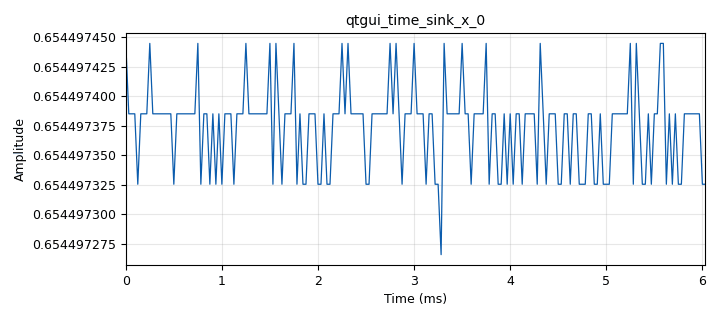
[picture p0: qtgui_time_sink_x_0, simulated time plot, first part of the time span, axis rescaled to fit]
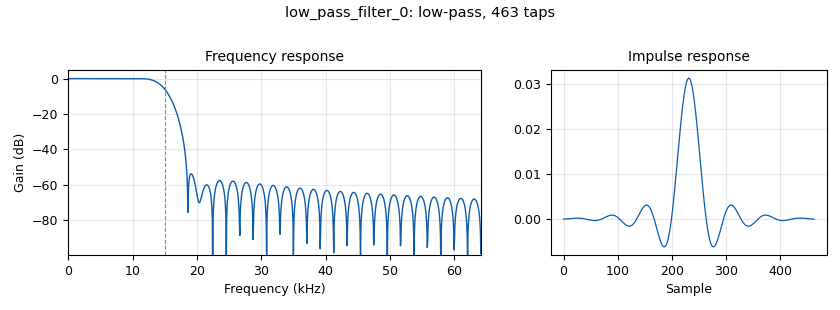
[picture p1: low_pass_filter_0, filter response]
<?xml version='1.0' encoding='utf-8'?>
<?grc format='1' created='3.7.13'?>
<flow_graph>
<block>
<key>options</key>
<param><key>id</key><value>top_block</value></param>
<param><key>generate_options</key><value>qt_gui</value></param>
</block>
<block>
<key>variable</key>
<param><key>id</key><value>samp_rate</value></param>
<param><key>value</key><value>960000</value></param>
</block>
<block>
<key>variable</key>
<param><key>id</key><value>samp_rate_1</value></param>
<param><key>value</key><value>32000</value></param>
</block>
<block>
<key>analog_phase_modulator_fc</key>
<param><key>id</key><value>analog_phase_modulator_fc_0</value></param>
<param><key>sensitivity</key><value>62831.8530718</value></param>
</block>
<block>
<key>analog_sig_source_x</key>
<param><key>id</key><value>analog_sig_source_x_0</value></param>
<param><key>amp</key><value>4</value></param>
<param><key>freq</key><value>10000</value></param>
<param><key>offset</key><value>0</value></param>
<param><key>type</key><value>float</value></param>
<param><key>samp_rate</key><value>samp_rate</value></param>
<param><key>waveform</key><value>analog.GR_COS_WAVE</value></param>
</block>
<block>
<key>analog_sig_source_x</key>
<param><key>id</key><value>analog_sig_source_x_1</value></param>
<param><key>amp</key><value>1</value></param>
<param><key>freq</key><value>100000</value></param>
<param><key>offset</key><value>0</value></param>
<param><key>type</key><value>complex</value></param>
<param><key>samp_rate</key><value>samp_rate</value></param>
<param><key>waveform</key><value>analog.GR_COS_WAVE</value></param>
</block>
<block>
<key>audio_sink</key>
<param><key>id</key><value>audio_sink_0</value></param>
<param><key>samp_rate</key><value>samp_rate_1</value></param>
</block>
<block>
<key>blocks_complex_to_arg</key>
<param><key>id</key><value>blocks_complex_to_arg_0</value></param>
</block>
<block>
<key>blocks_conjugate_cc</key>
<param><key>id</key><value>blocks_conjugate_cc_0</value></param>
</block>
<block>
<key>blocks_delay</key>
<param><key>id</key><value>blocks_delay_0</value></param>
<param><key>delay</key><value>1</value></param>
<param><key>type</key><value>complex</value></param>
</block>
<block>
<key>blocks_file_source</key>
<param><key>id</key><value>blocks_file_source_0</value></param>
<param><key>_enabled</key><value>0</value></param>
<param><key>file</key><value>C:\Users\vinam\Documents\Semester_5\EE 340\Lab2\lab2_task4.dat</value></param>
<param><key>type</key><value>complex</value></param>
<param><key>repeat</key><value>True</value></param>
</block>
<block>
<key>blocks_multiply_xx</key>
<param><key>id</key><value>blocks_multiply_xx_0</value></param>
<param><key>type</key><value>complex</value></param>
</block>
<block>
<key>blocks_multiply_xx</key>
<param><key>id</key><value>blocks_multiply_xx_0_0</value></param>
<param><key>type</key><value>complex</value></param>
</block>
<block>
<key>blocks_throttle</key>
<param><key>id</key><value>blocks_throttle_0</value></param>
<param><key>samples_per_second</key><value>samp_rate_1</value></param>
<param><key>type</key><value>float</value></param>
</block>
<block>
<key>iir_filter_xxx</key>
<param><key>id</key><value>iir_filter_xxx_0</value></param>
<param><key>fftaps</key><value>1/samp_rate</value></param>
<param><key>fbtaps</key><value>[1, 1]</value></param>
<param><key>type</key><value>ffd</value></param>
</block>
<block>
<key>low_pass_filter</key>
<param><key>id</key><value>low_pass_filter_0</value></param>
<param><key>cutoff_freq</key><value>15000</value></param>
<param><key>decim</key><value>30</value></param>
<param><key>type</key><value>fir_filter_fff</value></param>
<param><key>gain</key><value>1</value></param>
<param><key>samp_rate</key><value>samp_rate</value></param>
<param><key>width</key><value>5000</value></param>
<param><key>win</key><value>firdes.WIN_HAMMING</value></param>
</block>
<block>
<key>qtgui_time_sink_x</key>
<param><key>id</key><value>qtgui_time_sink_x_0</value></param>
<param><key>color1</key><value>"blue"</value></param>
<param><key>label1</key><value></value></param>
<param><key>size</key><value>1024</value></param>
<param><key>srate</key><value>samp_rate_1</value></param>
<param><key>type</key><value>float</value></param>
</block>
<connection><source_block_id>analog_phase_modulator_fc_0</source_block_id><sink_block_id>blocks_multiply_xx_0_0</sink_block_id><source_key>0</source_key><sink_key>0</sink_key></connection>
<connection><source_block_id>analog_sig_source_x_0</source_block_id><sink_block_id>iir_filter_xxx_0</sink_block_id><source_key>0</source_key><sink_key>0</sink_key></connection>
<connection><source_block_id>analog_sig_source_x_1</source_block_id><sink_block_id>blocks_multiply_xx_0_0</sink_block_id><source_key>0</source_key><sink_key>1</sink_key></connection>
<connection><source_block_id>blocks_complex_to_arg_0</source_block_id><sink_block_id>low_pass_filter_0</sink_block_id><source_key>0</source_key><sink_key>0</sink_key></connection>
<connection><source_block_id>blocks_conjugate_cc_0</source_block_id><sink_block_id>blocks_multiply_xx_0</sink_block_id><source_key>0</source_key><sink_key>0</sink_key></connection>
<connection><source_block_id>blocks_delay_0</source_block_id><sink_block_id>blocks_conjugate_cc_0</sink_block_id><source_key>0</source_key><sink_key>0</sink_key></connection>
<connection><source_block_id>blocks_multiply_xx_0</source_block_id><sink_block_id>blocks_complex_to_arg_0</sink_block_id><source_key>0</source_key><sink_key>0</sink_key></connection>
<connection><source_block_id>blocks_multiply_xx_0_0</source_block_id><sink_block_id>blocks_delay_0</sink_block_id><source_key>0</source_key><sink_key>0</sink_key></connection>
<connection><source_block_id>blocks_multiply_xx_0_0</source_block_id><sink_block_id>blocks_multiply_xx_0</sink_block_id><source_key>0</source_key><sink_key>1</sink_key></connection>
<connection><source_block_id>blocks_throttle_0</source_block_id><sink_block_id>audio_sink_0</sink_block_id><source_key>0</source_key><sink_key>0</sink_key></connection>
<connection><source_block_id>blocks_throttle_0</source_block_id><sink_block_id>qtgui_time_sink_x_0</sink_block_id><source_key>0</source_key><sink_key>0</sink_key></connection>
<connection><source_block_id>iir_filter_xxx_0</source_block_id><sink_block_id>analog_phase_modulator_fc_0</sink_block_id><source_key>0</source_key><sink_key>0</sink_key></connection>
<connection><source_block_id>low_pass_filter_0</source_block_id><sink_block_id>blocks_throttle_0</sink_block_id><source_key>0</source_key><sink_key>0</sink_key></connection>
</flow_graph>
